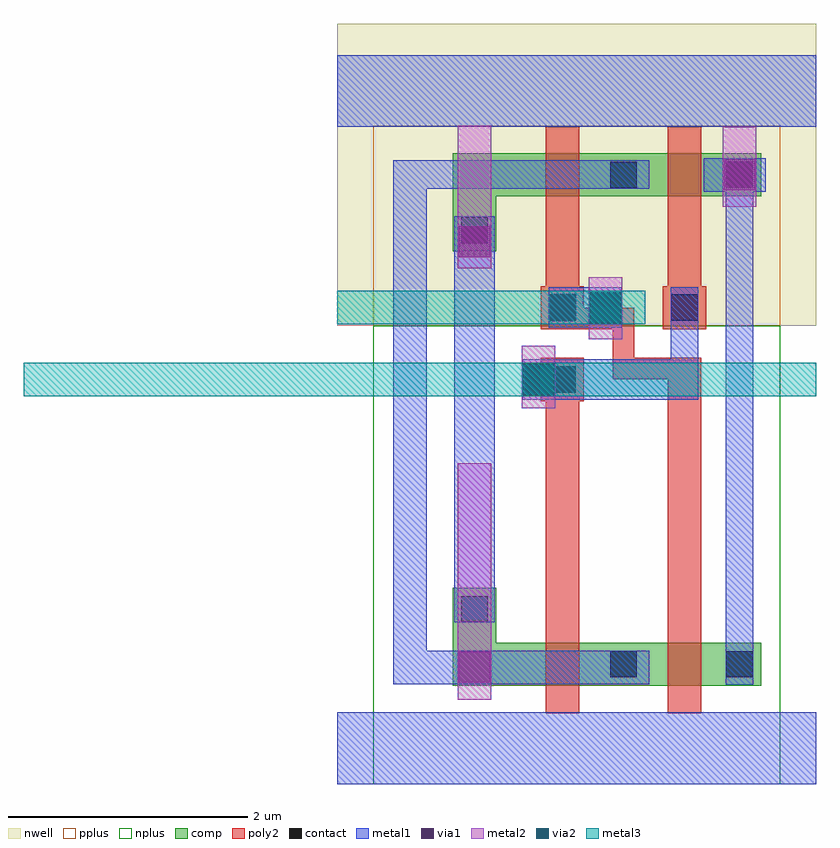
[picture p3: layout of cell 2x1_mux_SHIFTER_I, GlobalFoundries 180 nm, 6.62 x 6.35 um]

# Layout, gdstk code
import gdstk
lib = gdstk.Library(unit=1e-6, precision=5e-09)
def R(c, l, rs):  # rectangles x0, y0, x1, y1
    for r in rs: c.add(gdstk.rectangle(r[:2], r[2:], *l))
nwell = (21, 0)
comp = (22, 0)
poly2 = (30, 0)
pplus = (31, 0)
nplus = (32, 0)
contact = (33, 0)
metal1 = (34, 0)
via1 = (35, 0)
metal2 = (36, 0)
via2 = (38, 0)
metal3 = (42, 0)

c_2x1_mux_shifter_i = lib.new_cell('2x1_mux_SHIFTER_I')
R(c_2x1_mux_shifter_i, nwell, [(0.165,1.955,4.165,4.475)])
R(c_2x1_mux_shifter_i, comp, [(1.13,-1.055,3.705,-0.695), (1.13,-0.695,1.49,-0.235), (1.13,2.575,1.49,3.035), (1.13,3.035,3.705,3.395)])
R(c_2x1_mux_shifter_i, poly2, [(1.905,-1.285,2.185,1.325), (2.925,-1.285,3.205,1.685), (1.865,1.325,2.225,1.685), (2.465,1.505,2.645,2.105), (2.645,1.505,2.925,1.685), (1.865,1.925,2.225,2.285), (2.225,1.925,2.465,2.105), (2.885,1.925,3.245,2.285), (1.905,2.285,2.185,3.615), (2.925,2.285,3.205,3.615)])
R(c_2x1_mux_shifter_i, pplus, [(0.465,1.955,3.865,3.625)])
R(c_2x1_mux_shifter_i, nplus, [(0.465,-1.875,3.865,1.955)])
R(c_2x1_mux_shifter_i, contact, [(2.445,-0.985,2.665,-0.765), (3.415,-0.985,3.635,-0.765), (1.2,-0.525,1.42,-0.305), (1.935,1.395,2.155,1.615), (1.935,1.995,2.155,2.215), (2.955,1.995,3.175,2.215), (1.2,2.645,1.42,2.865), (2.445,3.105,2.665,3.325), (3.415,3.105,3.635,3.325)])
R(c_2x1_mux_shifter_i, metal1, [(0.165,-1.875,4.165,-1.275), (3.41,-1.045,3.64,3.355), (0.63,-1.04,0.91,3.1), (0.63,-1.04,2.77,-0.76), (1.14,-0.525,1.48,2.87), (1.71,1.335,2.95,1.675), (2.95,1.335,3.18,2.275), (1.93,1.935,2.54,2.275), (3.225,3.075,3.745,3.355), (0.63,3.1,2.77,3.335), (0.165,3.615,4.165,4.215)])
R(c_2x1_mux_shifter_i, via1, [(1.18,-1.03,1.44,-0.77), (1.715,1.375,1.975,1.635), (2.275,1.975,2.535,2.235), (1.18,2.525,1.44,2.785), (3.395,3.085,3.655,3.345)])
R(c_2x1_mux_shifter_i, metal2, [(1.17,-1.17,1.45,0.805), (1.705,1.265,1.985,1.785), (2.265,1.84,2.545,2.36), (1.17,2.435,1.45,3.625), (3.385,2.95,3.665,3.615)])
R(c_2x1_mux_shifter_i, via2, [(1.715,1.375,1.975,1.635), (2.275,1.975,2.535,2.235)])
R(c_2x1_mux_shifter_i, metal3, [(-2.455,1.365,4.165,1.645), (0.165,1.965,2.735,2.245)])

lib.write_gds('2x1_mux_SHIFTER_I.gds')
